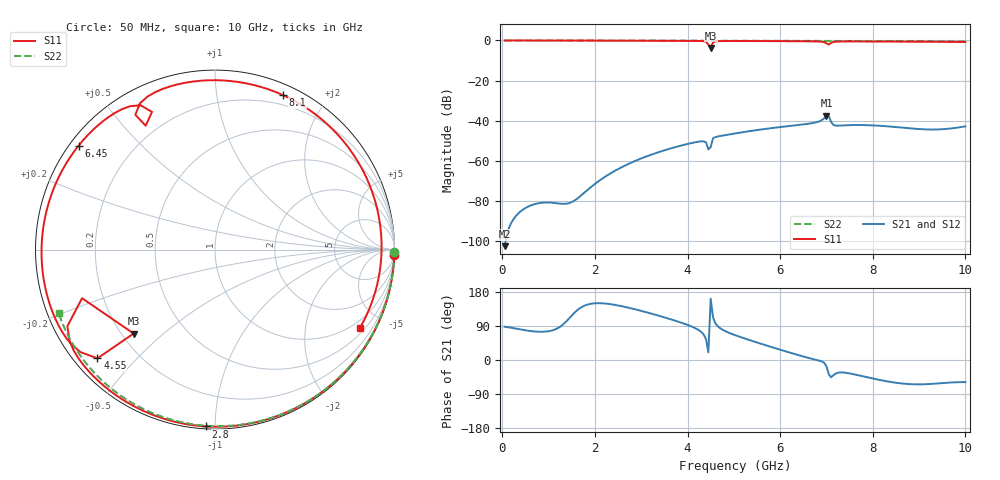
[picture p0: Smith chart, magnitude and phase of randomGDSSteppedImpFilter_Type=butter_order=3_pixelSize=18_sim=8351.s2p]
! freq	dB(S11)	phase(S11)	dB(S12)	phase(S12)
!  dB(S21)	phase(S21)	dB(S22)	phase(S22)
!S-par simulation data
#  GHz  S  DB  R 50
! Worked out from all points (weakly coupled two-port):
!   200 points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, 50 MHz to 10 GHz, reference 50 ohm
!   highest |S21| = -37.61 dB at 7 GHz (marker M1); lowest = -102.7 dB at 50 MHz (marker M2)
!   lowest |S11| = -3.7 dB at 4.5 GHz (marker M3), VSWR 4.74, Z = 12.3 - j20.1 ohm
!   |S11| at or under -10 dB: nowhere
!   |S22| runs from -0.5 to 0.0 dB; largest |S21 - S12| = 0
!   S11 on the Smith chart (normalised r, x): 50 MHz: 1, -66; 2.8 GHz: 0.01, -0.95; 4.55 GHz: 0.07, -0.39; 6.45 GHz: 0.03, +0.34; 8.1 GHz: 0.10, +1.52; 10 GHz: 0.70, -3.85
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0.05  -0.00 -1.7  -102.68 87.8  -102.68 87.8  -0.00 -0.9
1.55  -0.07 -52.4  -80.04 123.7  -80.04 123.7  -0.04 -27.7
1.75  -0.07 -59.0  -76.41 142.0  -76.41 142.0  -0.04 -31.2
2.8  -0.12 -93.0  -60.83 135.8  -60.83 135.8  -0.06 -49.2
3.4  -0.15 -112.2  -55.57 116.1  -55.57 116.1  -0.08 -59.2
4.1  -0.20 -135.8  -51.13 87.7  -51.13 87.7  -0.10 -70.5
4.4  -0.66 -152.6  -50.86 54.8  -50.86 54.8  -0.11 -75.3
4.45  -2.06 -159.9  -54.37 20.3  -54.37 20.3  -0.11 -76.1
4.5  -3.72 -134.1  -53.22 161.7  -53.22 161.7  -0.11 -76.9
4.55  -0.99 -137.2  -48.83 112.5  -48.83 112.5  -0.11 -77.7
4.7  -0.32 -149.1  -47.72 84.2  -47.72 84.2  -0.12 -80.0
5.05  -0.27 -163.3  -46.32 64.5  -46.32 64.5  -0.13 -85.4
5.75  -0.32 170.8  -43.94 36.6  -43.94 36.6  -0.16 -96.0
6.45  -0.40 142.6  -42.05 10.9  -42.05 10.9  -0.20 -106.4
6.7  -0.45 131.3  -41.25 2.7  -41.25 2.7  -0.22 -110.1
7  -1.48 114.6  -37.61 -16.7  -37.61 -16.7  -0.24 -114.4
7.05  -2.04 119.2  -37.81 -37.6  -37.81 -37.6  -0.24 -115.1
7.2  -0.61 113.8  -42.51 -35.7  -42.51 -35.7  -0.25 -117.3
8.1  -0.53 66.4  -42.51 -51.5  -42.51 -51.5  -0.32 -130.2
8.35  -0.55 53.3  -42.92 -57.3  -42.92 -57.3  -0.34 -133.8
9.15  -0.62 12.0  -44.40 -63.9  -44.40 -63.9  -0.43 -145.3
10  -0.75 -28.3  -42.88 -58.4  -42.88 -58.4  -0.53 -157.8
